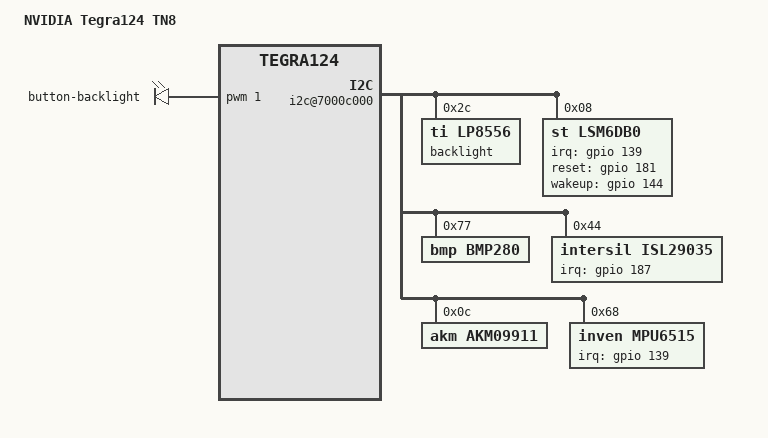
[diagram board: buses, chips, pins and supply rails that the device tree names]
/dts-v1/;

#include "tegra124.dtsi"
#include "tegra124-tn8.dtsi"
#include "tegra124-platforms/tegra124-tn8-emc-e1922-1100-a00.dtsi"
#include "tegra124-platforms/tegra124-tn8-pmic-e1736-1000-a00.dtsi"
#include "tegra124-platforms/tegra124-tn8-fixed-e1736-1000-a00.dtsi"
#include "tegra124-platforms/tegra124-tn8-gpio-e1780-1100-a02.dtsi"
#include "tegra124-platforms/tegra124-tn8-pinmux-e1780-1100-a02.dtsi"
#include "tegra124-platforms/tegra124-tn8-keys-e1780-1100-a02.dtsi"
#include "tegra124-platforms/tegra124-mocha-sysedp.dtsi"

/ {
	model = "NVIDIA Tegra124 TN8";
	compatible = "nvidia,mocha", "nvidia,tegra124";
	nvidia,dtsfilename = __FILE__;
	nvidia,boardids = "1780:1100:3:A:7","1845:1000:0:A:7";
	#address-cells = <1>;
	#size-cells = <1>;

	chosen {
		bootargs = "tegraid=40.0.0.00.00 vmalloc=256M video=tegrafb console=ttyS0,115200n8 earlyprintk";
		linux,initrd-start = <0x85000000>;
		linux,initrd-end = <0x851bc400>;
	};

	i2c@7000c700 {
		nvidia,clock-always-on;
		clock-frequency = <400000>;
	};

	i2c@7000c000 {
		backlight@2c {
			compatible = "ti,lp8556";
			reg = <0x2c>;

			dev-ctrl = /bits/ 8 <0x83>;
			init-brt = /bits/ 8 <0x1f>;
			led-en   = /bits/ 8 <0x0f>;

			rom_98h {
				rom-addr = /bits/ 8 <0x98>;
				rom-val = /bits/ 8 <0x80>;
			};
			rom_9eh {
				rom-addr = /bits/ 8 <0x9e>;
				rom-val = /bits/ 8 <0x21>;
			};
			rom_a0h {
				rom-addr = /bits/ 8 <0xa0>;
				rom-val = /bits/ 8 <0xff>;
			};
			rom_a1h {
				rom-addr = /bits/ 8 <0xa1>;
				rom-val = /bits/ 8 <0x3f>;
			};
			rom_a2h {
				rom-addr = /bits/ 8 <0xa2>;
				rom-val = /bits/ 8 <0x20>;
			};
			rom_a3h {
				rom-addr = /bits/ 8 <0xa3>;
				rom-val = /bits/ 8 <0x00>;
			};
			rom_a4h {
				rom-addr = /bits/ 8 <0xa4>;
				rom-val = /bits/ 8 <0x72>;
			};
			rom_a5h {
				rom-addr = /bits/ 8 <0xa5>;
				rom-val = /bits/ 8 <0x24>;
			};
			rom_a6h {
				rom-addr = /bits/ 8 <0xa6>;
				rom-val = /bits/ 8 <0x80>;
			};
			rom_a7h {
				rom-addr = /bits/ 8 <0xa7>;
				rom-val = /bits/ 8 <0xf5>;
			};
			rom_a8h {
				rom-addr = /bits/ 8 <0xa8>;
				rom-val = /bits/ 8 <0x24>;
			};
			rom_a9h {
				rom-addr = /bits/ 8 <0xa9>;
				rom-val = /bits/ 8 <0xb2>;
			};
			rom_aah {
				rom-addr = /bits/ 8 <0xaa>;
				rom-val = /bits/ 8 <0x8f>;
			};
			rom_aeh {
				rom-addr = /bits/ 8 <0xae>;
				rom-val = /bits/ 8 <0x0f>;
			};
		};

		lsm6db0@08 {
			compatible = "st,lsm6db0";
			reg = <0x08>;

			st,irq-gpio = <&gpio 139 0x00>;
			st,reset-gpio = <&gpio 181 0x00>;
			st,wakeup-gpio = <&gpio 144 0x00>;
		};

		bmp280@77 {
			compatible = "bmp,bmp280";
			reg = <0x77>;
		};

		isl29035@44 {
			compatible = "intersil,isl29035";
			reg = <0x44>;
			interrupt-parent = <&gpio>;
			interrupts = <187 0x08>;

			als_factor = <16>;
			als_highrange = <2>;
			als_lowthres = <0x0e00>;
			als_highthres = <0xf800>;
			als_sensitive = <25>;
		};

		akm09911@0c {
			compatible = "akm,akm09911";
			reg = <0x0c>;

			akm,layout = <6>;
			akm,gpio_rst = <132>;
		};

		mpu6515@68 {
			compatible = "inven,mpu6515";
			reg = <0x68>;
			interrupt-parent = <&gpio>;
			interrupts = <139 0x01>;

			regulator_config = <0>;

			fs_range = <0x00>;
			axis_map_x = <0>;
			axis_map_y = <1>;
			axis_map_z = <2>;
			negate_x = <0>;
			negate_y = <1>;
			negate_z = <1>;
			poll_interval = <200>;
			min_interval = <5>;

			inven,secondary_type = "none";
			inven,secondary_reg = <0x0C>;
			inven,secondary_name = "ak8963";
			inven,secondary_axis_map_x = <1>;
			inven,secondary_axis_map_y = <0>;
			inven,secondary_axis_map_z = <2>;
			inven,secondary_negate_x = <0>;
			inven,secondary_negate_y = <0>;
			inven,secondary_negate_z = <1>;

			inven,aux_type = "none";
			inven,aux_reg = <0x76>;
			inven,aus_name = "bmp280";
		};
	};

	pwmleds {
		compatible = "pwm-leds";
		button_led {
			label = "button-backlight";
			pwms = <&pwm 1 10000>;
			max-brightness = <100>;
			max-duty = <50>;
		};
	};
};

